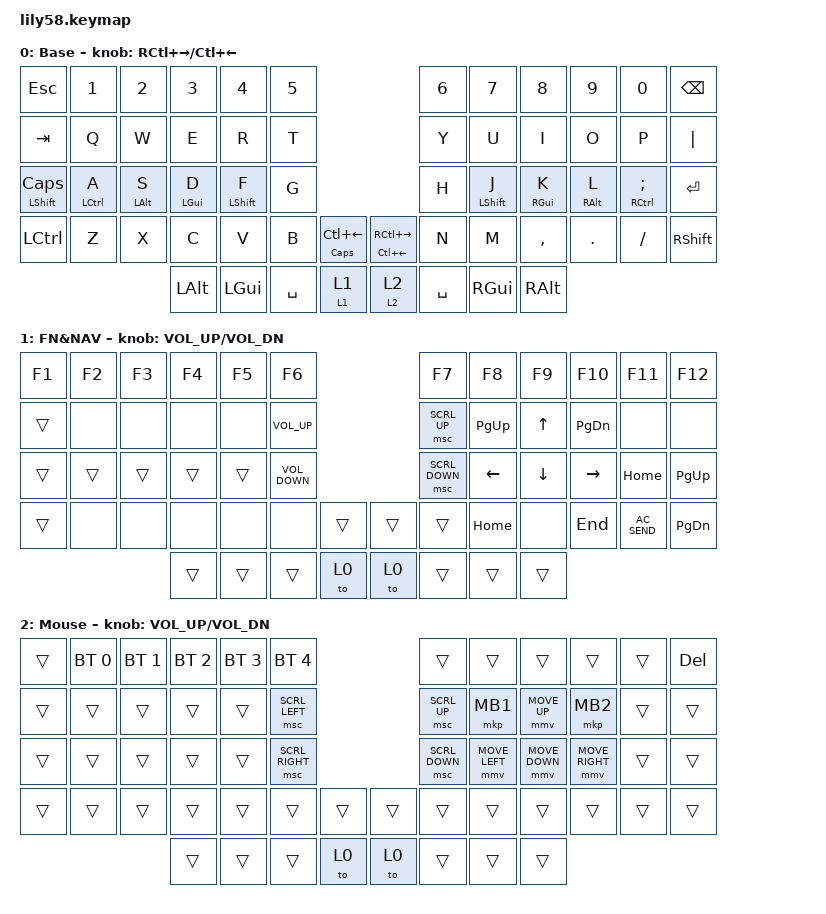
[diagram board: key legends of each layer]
/*
 * Copyright (c) 2020 The ZMK Contributors
 *
 * SPDX-License-Identifier: MIT
 */

#include <behaviors.dtsi>
#include <dt-bindings/zmk/bt.h>
#include <dt-bindings/zmk/keys.h>
#include <dt-bindings/zmk/pointing.h>

#define default_layer 0
#define lower_layer 1
#define raise_layer 2
#define adjust_layer 3
#define extra 4

/ {
    conditional_layers { compatible = "zmk,conditional-layers"; };
};

/ {
    combos {
        compatible = "zmk,combos";

        combos_dot {
            bindings = <&kp GRAVE>;
            key-positions = <0 1>;
            layers = <0>;
        };

        minus {
            bindings = <&kp MINUS>;
            key-positions = <9 10>;
            layers = <0>;
        };

        equals {
            bindings = <&kp EQUAL>;
            key-positions = <10 11>;
            layers = <0>;
        };

        big-minus {
            bindings = <&kp UNDERSCORE>;
            key-positions = <9 10>;
            layers = <0>;
        };

        plus {
            bindings = <&kp PLUS>;
            key-positions = <10 11>;
            layers = <0>;
        };

        left_bracket {
            bindings = <&kp LEFT_BRACKET>;
            key-positions = <21 22>;
            layers = <0>;
        };

        right_bracket {
            bindings = <&kp RIGHT_BRACKET>;
            key-positions = <22 23>;
            layers = <0>;
        };

        STQ {
            bindings = <&kp SQT>;
            key-positions = <34 35>;
            layers = <0>;
        };
    };

    behaviors {
        to_layer_2_binding: to_layer_2_binding {
            compatible = "zmk,behavior-hold-tap";
            bindings = <&mo>, <&to>;

            #binding-cells = <2>;
            tapping-term-ms = <200>;
        };

        home_row_mod_left: home_row_mod_left {
            compatible = "zmk,behavior-hold-tap";
            label = "HOME_ROW_MOD_LEFT";
            bindings = <&kp>, <&kp>;

            #binding-cells = <2>;
            tapping-term-ms = <280>;
            quick-tap-ms = <175>;
            require-prior-idle-ms = <150>;
            flavor = "tap-preferred";
        };

        home_row_mod_right: home_row_mod_right {
            compatible = "zmk,behavior-hold-tap";
            label = "HOME_ROW_MOD_RIGHT";
            bindings = <&kp>, <&kp>;

            #binding-cells = <2>;
            tapping-term-ms = <280>;
            quick-tap-ms = <175>;
            require-prior-idle-ms = <150>;
            flavor = "tap-preferred";
        };
    };

    keymap {
        compatible = "zmk,keymap";

        default_layer {
            display-name = "Base";

            // ------------------------------------------------------------------------------------------------------------
            // |  ESC  |  1  |  2  |  3   |  4   |  5   |                   |  6   |  7    |  8    |  9   |   0   |   `   |
            // |  TAB  |  Q  |  W  |  E   |  R   |  T   |                   |  Y   |  U    |  I    |  O   |   P   |   -   |
            // |  CTRL |  A  |  S  |  D   |  F   |  G   |                   |  H   |  J    |  K    |  L   |   ;   |   '   |
            // | SHIFT |  Z  |  X  |  C   |  V   |  B   |   "["  |  |  "]"  |  N   |  M    |  ,    |  .   |   /   | SHIFT |
            //                     | ALT  | GUI  | LOWER|  SPACE |  | ENTER | RAISE| BSPC  | GUI   |

            bindings = <
&kp ESC              &kp N1                      &kp N2                     &kp N3                     &kp N4                      &kp N5                                                              &kp N6     &kp N7                       &kp N8                      &kp N9                      &kp N0                          &kp BSPC
&kp TAB              &kp Q                       &kp W                      &kp E                      &kp R                       &kp T                                                               &kp Y      &kp U                        &kp I                       &kp O                       &kp P                           &kp PIPE
&mt LEFT_SHIFT CAPS  &home_row_mod_left LCTRL A  &home_row_mod_left LALT S  &home_row_mod_left LGUI D  &home_row_mod_left LSHFT F  &kp G                                                               &kp H      &home_row_mod_right LSHFT J  &home_row_mod_right RGUI K  &home_row_mod_right RALT L  &home_row_mod_right RCTRL SEMI  &kp RET
&kp LEFT_CONTROL     &kp Z                       &kp X                      &kp C                      &kp V                       &kp B      &mt CAPSLOCK LC(LEFT)      &mt LC(LEFT_ARROW) RC(RIGHT)  &kp N      &kp M                        &kp COMMA                   &kp DOT                     &kp FSLH                        &kp RSHFT
                                                                            &kp LALT                   &kp LGUI                    &kp SPACE  &to_layer_2_binding 1 1    &to_layer_2_binding 2 2       &kp SPACE  &kp RGUI                     &kp RALT
            >;

            // 传感器绑定：第一个是左编码器，第二个是右编码器
            // 左编码器：音量控制，右编码器：亮度控制

            sensor-bindings = <&inc_dec_kp RC(RIGHT) LC(LEFT_ARROW)>;
        };

        function_navigation {
            display-name = "FN&NAV";

            // ------------------------------------------------------------------------------------------------------------
            // |   `   |  1  |  2  |  3   |  4   |  5   |                   |  6   |   7   |   8   |  9   |   0   |       |
            // |       |     |      |      |      |      |                  |      |       |   UP  |      |       |       |
            // |       |     |      |      |      |      |                  |      |  LEFT |  DOWN | RIGHT|       |       |
            // |       |     |      |      |      |      |                  |      |       |       |      |       |       |
            //                     |      |      |  3   |        |  |       |  1   |       |

            bindings = <
&kp F1  &kp F2  &kp F3  &kp F4  &kp F5  &kp F6                               &kp F7          &kp F8       &kp F9    &kp F10        &kp F11        &kp F12
&trans  &none   &none   &none   &none   &kp C_VOLUME_UP                      &msc SCRL_UP    &kp PAGE_UP  &kp UP    &kp PAGE_DOWN  &none          &none
&trans  &trans  &trans  &trans  &trans  &kp C_VOLUME_DOWN                    &msc SCRL_DOWN  &kp LEFT     &kp DOWN  &kp RIGHT      &kp HOME       &kp PAGE_UP
&trans  &none   &none   &none   &none   &none              &trans    &trans  &trans          &kp HOME     &none     &kp END        &kp C_AC_SEND  &kp PAGE_DOWN
                        &trans  &trans  &trans             &to 0     &to 0   &trans          &trans       &trans
            >;

            sensor-bindings = <&inc_dec_kp C_VOL_UP C_VOL_DN>;
        };

        mouse_layer {
            display-name = "Mouse";

            // ------------------------------------------------------------------------------------------------------------
            // |  BT_CLR_ALL | BT_SEL 0 | BT_SEL 1 | BT_SEL 2 | BT_SEL 3 | BT_SEL 4 |                   |       |       |       |       |       |       |
            // |             |          |          |          |          |          |                   |       |       | MOVE_UP|       |       |       |
            // |             | MOVE_LEFT| MOVE_DOWN| MOVE_RIGHT|          |          |                   | SCRL_DOWN|MOVE_LEFT|MOVE_DOWN|MOVE_RIGHT|       |       |
            // |             |          |          |          |          |          |   SCRL_UP |  LCLK | RCLK | SCRL_UP |
            //                     |          |  TO 0  |        |   LCLK |  TO 2  |   RCLK |

            bindings = <
&trans  &bt BT_SEL 0  &bt BT_SEL 1  &bt BT_SEL 2  &bt BT_SEL 3  &bt BT_SEL 4                       &trans          &trans          &trans          &trans           &trans  &kp DEL
&trans  &trans        &trans        &trans        &trans        &msc SCRL_LEFT                     &msc SCRL_UP    &mkp MB1        &mmv MOVE_UP    &mkp MB2         &trans  &trans
&trans  &trans        &trans        &trans        &trans        &msc SCRL_RIGHT                    &msc SCRL_DOWN  &mmv MOVE_LEFT  &mmv MOVE_DOWN  &mmv MOVE_RIGHT  &trans  &trans
&trans  &trans        &trans        &trans        &trans        &trans           &trans    &trans  &trans          &trans          &trans          &trans           &trans  &trans
                                    &trans        &trans        &trans           &to 0     &to 0   &trans          &trans          &trans
            >;

            sensor-bindings = <&inc_dec_kp C_VOL_UP C_VOL_DN>;
        };
    };
};
